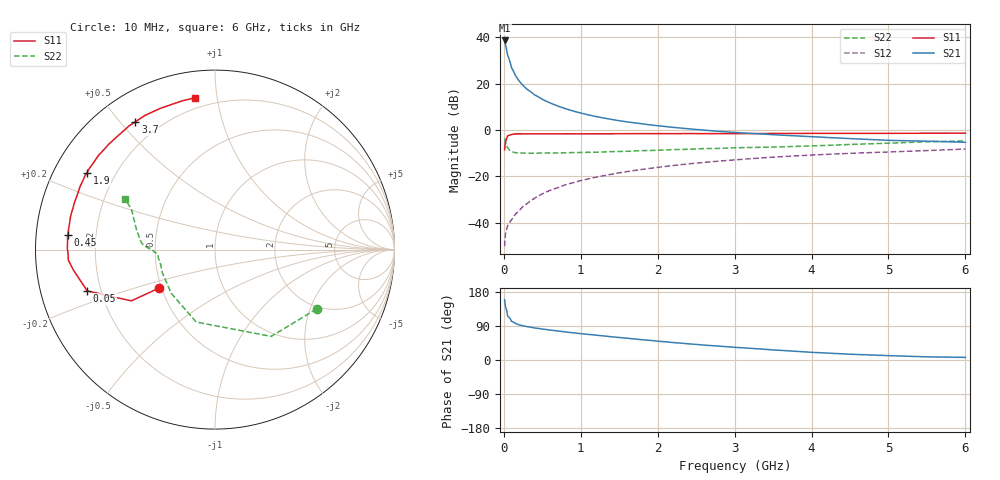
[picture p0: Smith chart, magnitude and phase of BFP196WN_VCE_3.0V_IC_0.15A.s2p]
! (c) 2017  Infineon Technologies AG, Munich
! Infineon Technologies  Discrete & RF Semiconductors
! BFP196WN
! VCE =  3.0 V,  IC = 0.15 A
! Common Emitter S-Parameters:  Jan 2017
# GHz  S  MA  R  50
!  f  S11  S21  S12  S22
! GHz  MAG  ANG  MAG  ANG  MAG  ANG  MAG  ANG
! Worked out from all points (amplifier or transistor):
!   77 points, 10 MHz to 6 GHz, reference 50 ohm
!   highest |S21| = 38.6 dB at 10 MHz (marker M1)
!   |S21| within 3 dB of that: start of sweep to 29.17 MHz
!   unconditionally stable (mu >= 1): 199.7 MHz to 3.261 GHz; 4.741 GHz to 5.129 GHz
!   at 130 MHz: K = 0.87, MSG = 31.2 dB, |S12| = -37.3 dB
!   at 2.2 GHz: K = 1.04, MAG = 7.0 dB, |S12| = -15.4 dB
!   at 6 GHz: K = 0.97, MSG = 1.5 dB, |S12| = -8.3 dB
!   S11 on the Smith chart (normalised r, x): 10 MHz: 0.49, -0.24; 50 MHz: 0.15, -0.15; 450 MHz: 0.10, +0.05; 1.9 GHz: 0.10, +0.27; 3.7 GHz: 0.11, +0.55; 6 GHz: 0.14, +0.87
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0.01  0.3759 -145.4  85.34 159.1  0.0031 68.8  0.6557 -30.3
0.02  0.5465 -148.5  70.51 141.4  0.0056 60.2  0.576 -57.1
0.05  0.7485 -162.1  40.87 115.7  0.0086 48.0  0.4169 -104.6
0.1  0.7977 -171.9  22.01 102.2  0.0115 54.5  0.3445 -135.3
0.15  0.8192 -175.9  15.02 96.4  0.0151 61.0  0.323 -149.1
0.2  0.8191 -178.6  11.32 92.8  0.0183 66.9  0.321 -156.3
0.25  0.8231 179.6  9.092 90.1  0.0224 68.1  0.3169 -160.2
0.3  0.8224 177.9  7.593 88.2  0.0257 70.5  0.3141 -164.0
0.4  0.8241 175.3  5.719 84.5  0.0337 72.2  0.3145 -167.5
0.45  0.8238 174.2  5.148 83.3  0.0377 73.1  0.3161 -168.9
0.5  0.8238 173.0  4.58 81.7  0.0417 73.9  0.3178 -170.2
0.6  0.8235 171.0  3.83 79.0  0.0497 74.0  0.3196 -172.1
0.7  0.8236 169.2  3.284 76.6  0.0568 74.8  0.3185 -173.4
0.9  0.8251 165.3  2.561 71.8  0.0728 73.6  0.3246 -175.0
1.1  0.8255 161.9  2.113 67.5  0.0881 72.7  0.3286 -176.6
1.9  0.831 149.0  1.287 51.8  0.1478 66.8  0.36 179.3
2.1  0.8325 145.8  1.184 48.0  0.163 65.0  0.3707 178.7
3.1  0.8332 130.7  0.863 32.2  0.2323 55.6  0.415 173.8
3.7  0.8391 121.9  0.759 24.2  0.2697 50.0  0.4363 168.7
4.1  0.8426 116.3  0.702 19.3  0.2919 46.2  0.4581 164.2
5.1  0.8448 105.4  0.591 10.9  0.3392 38.0  0.525 153.6
6  0.8531 97.6  0.541 6.9  0.3868 31.6  0.578 150.7
